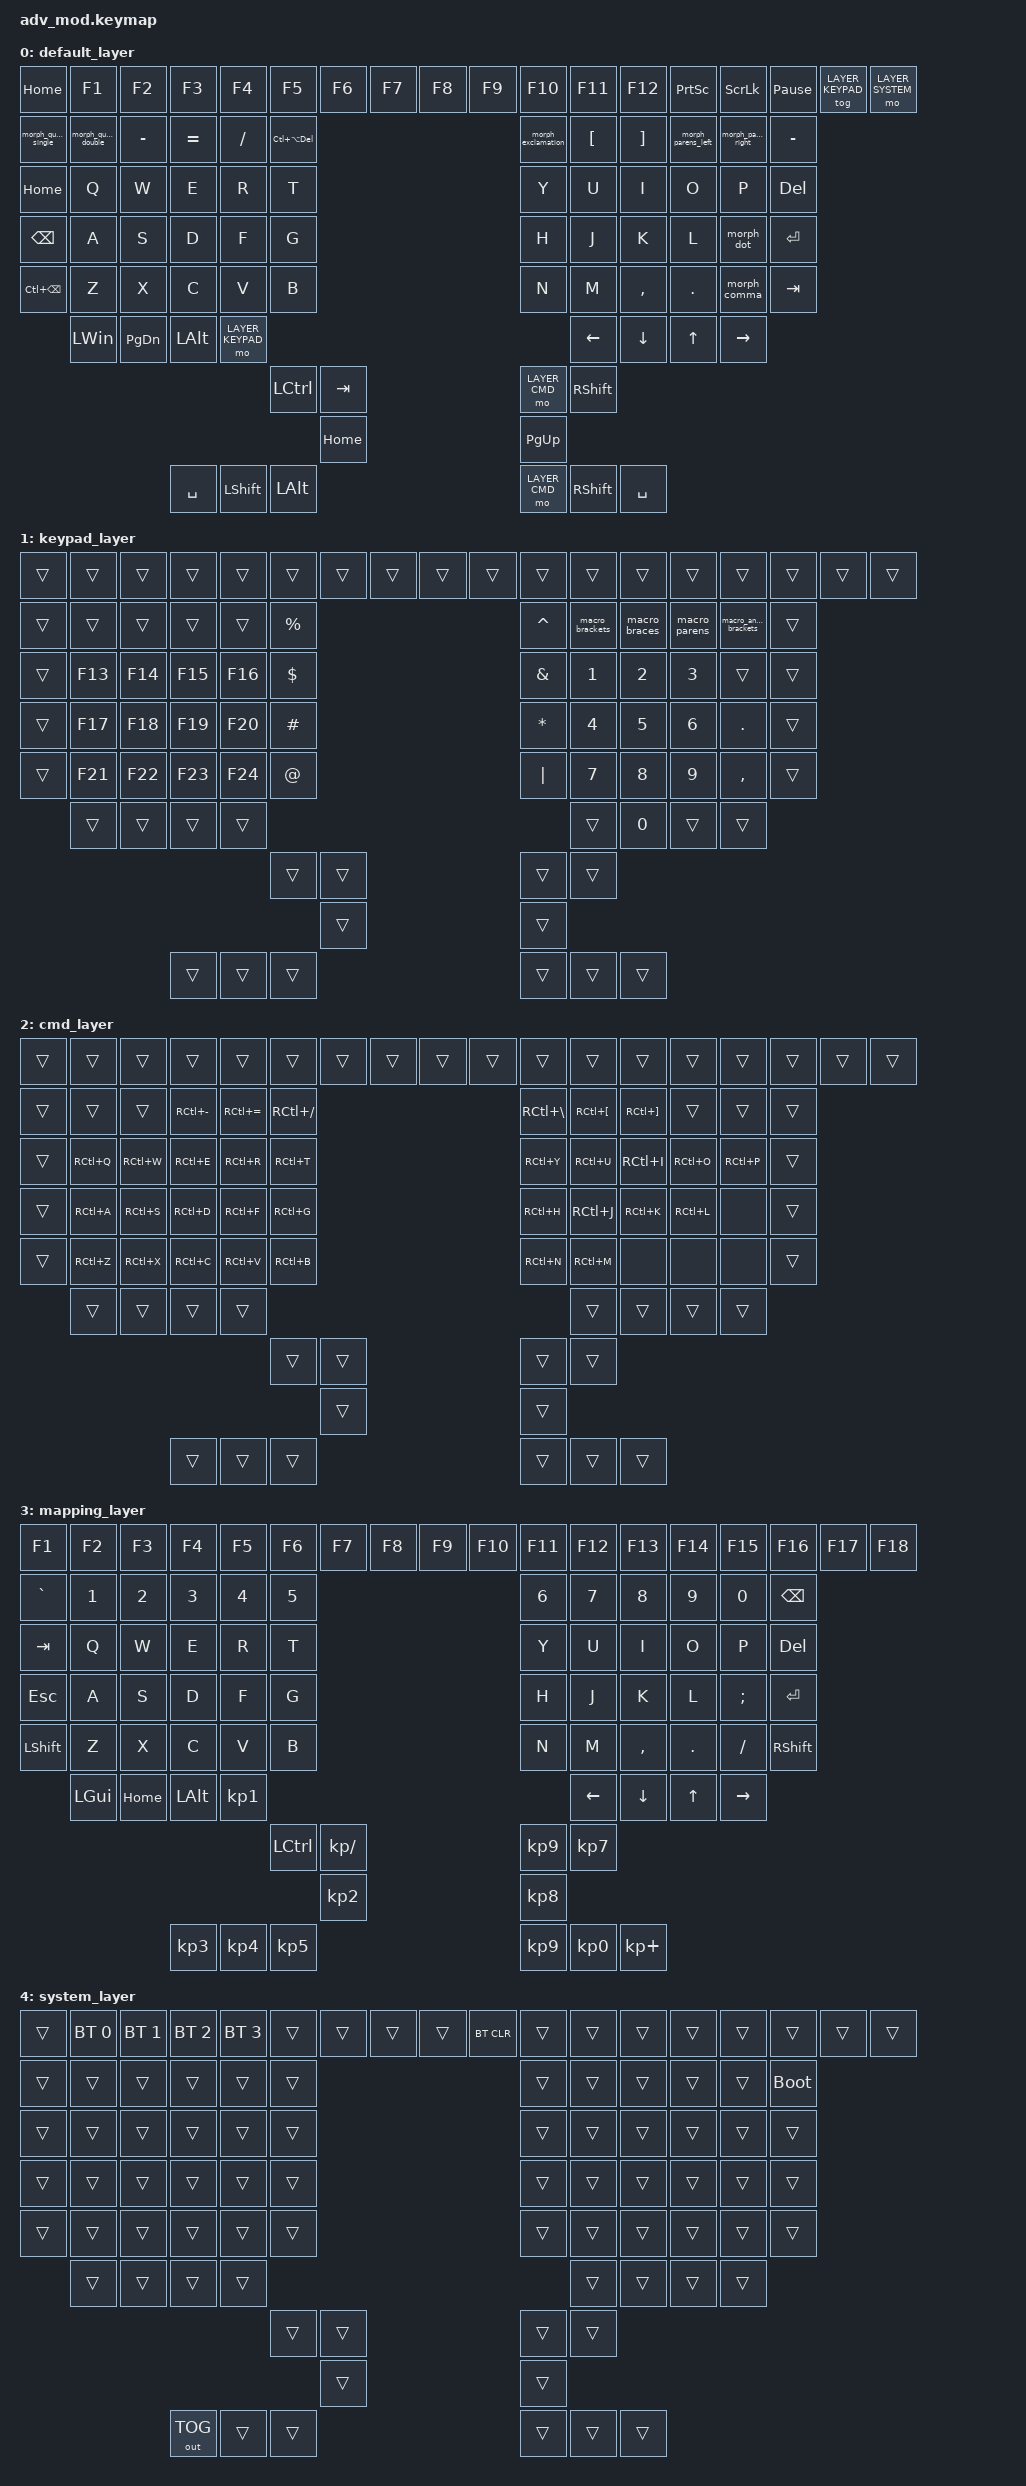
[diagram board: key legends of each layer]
/*
 * Copyright (c) 2020 The ZMK Contributors
 * 
 * SPDX-License-Identifier: MIT
 * 
 * ZMK keymap for Kinesis Advantage keyboards using Pillz Mod + Nice!Nano
 * Compatible with KLCM (Keyboard Layout Config Mapper)
 * 
 * Hardware: Kinesis Advantage with Pillz Mod Pro + Nice!Nano v2
 * Repository: https://github.com/masters3d/zmk-config-pillzmod-nicenano
 * Branch: cheyo
 */

#include <behaviors.dtsi>
#include <dt-bindings/zmk/keys.h>
#include <dt-bindings/zmk/bt.h>
#include <dt-bindings/zmk/outputs.h>

#define LAYER_KEYPAD 1
#define LAYER_CMD 2
#define LAYER_SYSTEM 3

/ {
    macros {
        macro_brackets: macro_brackets {
            compatible = "zmk,behavior-macro";
            label = "macro_brackets";
            #binding-cells = <0>;
            bindings = <&kp LBKT>, <&kp RBKT>, <&kp LEFT>;
        };

        macro_braces: macro_braces {
            compatible = "zmk,behavior-macro";
            label = "macro_braces";
            #binding-cells = <0>;
            bindings = <&kp LBRC>, <&kp RBRC>, <&kp LEFT>;
        };

        macro_parens: macro_parens {
            compatible = "zmk,behavior-macro";
            label = "macro_parens";
            #binding-cells = <0>;
            bindings = <&kp LPAR>, <&kp RPAR>, <&kp LEFT>;
        };

        macro_angle_brackets: macro_angle_brackets {
            compatible = "zmk,behavior-macro";
            label = "macro_angle_brackets";
            #binding-cells = <0>;
            bindings = <&kp LT>, <&kp GT>, <&kp LEFT>;
        };
    };

    behaviors {
        mo_key: behavior_mo_key {
            compatible = "zmk,behavior-hold-tap";
            label = "mo_key";
            #binding-cells = <2>;
            tapping-term-ms = <200>;
            quick_tap_ms = <175>;
            flavor = "tap-preferred";
            bindings = <&mo>, <&kp>;
        };

        hm: homerow_mods {
            compatible = "zmk,behavior-hold-tap";
            label = "HOMEROW_MODS";
            #binding-cells = <2>;
            tapping-term-ms = <200>;
            quick_tap_ms = <175>;
            flavor = "tap-preferred";
            bindings = <&kp>, <&kp>;
        };

        // &dot_override,
        morph_dot: morph_dot {
            compatible = "zmk,behavior-mod-morph";
            label = "MORPH_DOT";
            #binding-cells = <0>;
            bindings = <&kp PERIOD>, <&kp COLON>;
            mods = <(MOD_LSFT|MOD_RSFT)>;
        };

        // &comma_override,
        morph_comma: morph_comma {
            compatible = "zmk,behavior-mod-morph";
            label = "MORPH_COMMA";
            #binding-cells = <0>;
            bindings = <&kp COMMA>, <&kp SEMICOLON>;
            mods = <(MOD_LSFT|MOD_RSFT)>;
        };

        // &parens_left_override,
        morph_parens_left: morph_parens_left {
            compatible = "zmk,behavior-mod-morph";
            label = "MORPH_PARENS_LEFT";
            #binding-cells = <0>;
            bindings = <&kp LEFT_PARENTHESIS>, <&kp LESS_THAN>;
            mods = <(MOD_LSFT|MOD_RSFT)>;
        };

        // &parens_right_override,
        morph_parens_right: morph_parens_right {
            compatible = "zmk,behavior-mod-morph";
            label = "MORPH_PARENS_RIGHT";
            #binding-cells = <0>;
            bindings = <&kp RIGHT_PARENTHESIS>, <&kp GREATER_THAN>;
            mods = <(MOD_LSFT|MOD_RSFT)>;
        };

        // &exclamation_override,
        morph_exclamation: morph_exclamation {
            compatible = "zmk,behavior-mod-morph";
            label = "MORPH_EXCLAMATION";
            #binding-cells = <0>;
            bindings = <&kp BACKSLASH>, <&kp EXCLAMATION>;
            mods = <(MOD_LSFT|MOD_RSFT)>;
        };

        // &quote_single_override,
        morph_quote_single: morph_quote_single {
            compatible = "zmk,behavior-mod-morph";
            label = "MORPH_QUOTE_SINGLE";
            #binding-cells = <0>;
            bindings = <&kp SINGLE_QUOTE>, <&kp GRAVE>;
            mods = <(MOD_LSFT|MOD_RSFT)>;
        };

        // &quote_double_override,
        morph_quote_double: morph_quote_double {
            compatible = "zmk,behavior-mod-morph";
            label = "MORPH_QUOTE_DOUBLE";
            #binding-cells = <0>;
            bindings = <&kp DOUBLE_QUOTES>, <&kp TILDE>;
            mods = <(MOD_LSFT|MOD_RSFT)>;
        };
    };

    keymap {
        compatible = "zmk,keymap";

        default_layer {
            // -----------------------------------------------------------------------------------------
            // CUSTOMIZED LAYOUT - Synced from adv360 with hardware-specific top row preserved
            // -----------------------------------------------------------------------------------------
            // |  HOME |  F1  |  F2  |  F3  |  F4  |  F5  |  F6  |  F7  |  F8  |     |  F9  |  F10 |  F11 |  F12 | PSCRN| SLCK | PAUSE| Layer| SYS  |
            // |   '   |  "   |  -   |  =   |  /   |C-A-DEL                           |  !\  |  [   |  ]   | (<)  | (>)  |  -   |
            // | HOME  |  Q   |  W   |  E   |  R   |  T   |                           |  Y   |  U   |  I   |  O   |  P   | DEL  |
            // | BSPC  |  A   |  S   |  D   |  F   |  G   |                           |  H   |  J   |  K   |  L   | .(;) | ENTER|
            // |C-BSPC |  Z   |  X   |  C   |  V   |  B   |                           |  N   |  M   |  ,   |  .   | ,(;) | TAB  |
            //         | WIN  | PGDN | ALT  |KYPAD |      |                           |      | LEFT | DOWN |  UP  |RIGHT |
            //                                    | CTRL | TAB  |               | CMD  | SHFT |
            //                                           | HOME |               | PGUP |
            //                              | SPC  | SHFT | ALT  |               | CMD  | SHFT | SPC  |
            //
            // Notes: 
            //   .(;) = morph_dot (Period → Colon when shifted)
            //   ,(;) = morph_comma (Comma → Semicolon when shifted)
            //   (<) = morph_parens_left (Left paren → Less than when shifted)
            //   (>) = morph_parens_right (Right paren → Greater than when shifted)
            //   !\  = morph_exclamation (Backslash → Exclamation when shifted)
            //   '   = morph_quote_single (Single quote → Grave when shifted)
            //   "   = morph_quote_double (Double quote → Tilde when shifted)
            bindings = <
    &kp HOME   &kp F1    &kp F2    &kp F3    &kp F4    &kp F5    &kp F6    &kp F7    &kp F8         &kp F9    &kp F10   &kp F11   &kp F12   &kp PSCRN  &kp SLCK  &kp PAUSE_BREAK  &tog LAYER_KEYPAD  &mo LAYER_SYSTEM
    &morph_quote_single  &morph_quote_double  &kp MINUS  &kp EQUAL  &kp SLASH  &kp LC(LA(DEL))                                      &morph_exclamation  &kp LBKT  &kp RBKT  &morph_parens_left  &morph_parens_right  &kp MINUS
    &kp HOME    &kp Q     &kp W     &kp E     &kp R     &kp T                                                                                     &kp Y     &kp U     &kp I     &kp O     &kp P     &kp DEL
    &kp BSPC    &kp A     &kp S     &kp D     &kp F     &kp G                                                                                     &kp H     &kp J     &kp K     &kp L     &morph_dot  &kp ENTER
    &kp LC(BSPC)  &kp Z   &kp X     &kp C     &kp V     &kp B                                                                                     &kp N     &kp M     &kp COMMA &kp DOT   &morph_comma  &kp TAB
               &kp LEFT_WIN &kp PAGE_DOWN &kp LEFT_ALT &mo LAYER_KEYPAD                                                                                   &kp LEFT  &kp DOWN  &kp UP    &kp RIGHT
                                                      &kp LEFT_CONTROL  &kp TAB                                        &mo LAYER_CMD  &kp RIGHT_SHIFT
                                                                 &kp HOME                                               &kp PG_UP
                                        &kp SPACE   &kp LEFT_SHIFT  &kp LEFT_ALT                                       &mo LAYER_CMD  &kp RIGHT_SHIFT &kp SPACE
            >;
        };
        
        keypad_layer {
            // -----------------------------------------------------------------------------------------
            // Keypad layer - Number pad with symbols and macros for brackets/braces
            bindings = <
    &trans  &trans  &trans  &trans  &trans  &trans  &trans  &trans  &trans                          &trans  &trans  &trans  &trans  &trans  &trans  &trans  &trans  &trans
    &trans  &trans  &trans  &trans  &trans  &kp PERCENT                                                              &kp CARET  &macro_brackets  &macro_braces  &macro_parens  &macro_angle_brackets  &trans
    &trans  &kp F13  &kp F14  &kp F15  &kp F16  &kp DOLLAR                                                           &kp AMPERSAND  &kp N1  &kp N2  &kp N3  &trans  &trans
    &trans  &kp F17  &kp F18  &kp F19  &kp F20  &kp POUND                                                            &kp STAR  &kp N4  &kp N5  &kp N6  &kp DOT  &trans
    &trans  &kp F21  &kp F22  &kp F23  &kp F24  &kp AT_SIGN                                                          &kp PIPE  &kp N7  &kp N8  &kp N9  &kp COMMA  &trans
            &trans  &trans  &trans  &trans                                                                                   &trans  &kp N0  &trans  &trans
                                                  &trans  &trans                                        &trans  &trans
                                                          &trans                                        &trans
                                          &trans  &trans  &trans                                        &trans  &trans  &trans
            >;
        };

        cmd_layer {
            // -----------------------------------------------------------------------------------------
            // CMD/FN layer - Control/Command key combinations for all keys
            bindings = <
    &trans  &trans  &trans  &trans  &trans  &trans  &trans  &trans  &trans                          &trans  &trans  &trans  &trans  &trans  &trans  &trans  &trans  &trans
    &trans  &trans  &trans  &kp RC(MINUS)  &kp RC(EQUAL)  &kp RC(SLASH)                                      &kp RC(BACKSLASH)  &kp RC(LEFT_BRACKET)  &kp RC(RIGHT_BRACKET)  &trans  &trans  &trans
    &trans  &kp RC(Q)  &kp RC(W)  &kp RC(E)  &kp RC(R)  &kp RC(T)                                            &kp RC(Y)  &kp RC(U)  &kp RC(I)  &kp RC(O)  &kp RC(P)  &trans
    &trans  &kp RC(A)  &kp RC(S)  &kp RC(D)  &kp RC(F)  &kp RC(G)                                            &kp RC(H)  &kp RC(J)  &kp RC(K)  &kp RC(L)  &none  &trans
    &trans  &kp RC(Z)  &kp RC(X)  &kp RC(C)  &kp RC(V)  &kp RC(B)                                            &kp RC(N)  &kp RC(M)  &none  &none  &none  &trans
            &trans  &trans  &trans  &trans                                                                              &trans  &trans  &trans  &trans
                                                  &trans  &trans                                        &trans  &trans
                                                          &trans                                        &trans
                                          &trans  &trans  &trans                                        &trans  &trans  &trans
            >;
        };

        mapping_layer {
            // -----------------------------------------------------------------------------------------
            // MAPPING LAYER: Each key's VALUE defines its logical identity for translation.
            // This allows accurate translation between keyboards with different physical layouts.
            // adv_mod layout: 86 keys (18 function + 12×5 main + 8 modifier + 12 thumb)
            // Thumb keys use KP_N* as unique identifiers matching their function:
            //   KP_N1 = LAYER_KEYPAD (left inner), KP_N2 = WIN/GUI (left)
            //   KP_N3 = SPACE (left), KP_N4 = SHIFT (left), KP_N5 = ALT (left)
            //   KP_N7 = ESC (right inner), KP_N8 = LAYER_KEYPAD (right)
            //   KP_N9 = LAYER_CMD (right), KP_N0 = SHIFT (right), KP_PLUS = SPACE (right)
            //   LCTRL = CTRL key, KP_DIVIDE = TAB key
            bindings = <
    // Row 0: Function row (18 keys - unique to adv_mod)
    &kp F1     &kp F2     &kp F3    &kp F4    &kp F5    &kp F6    &kp F7    &kp F8    &kp F9           &kp F10   &kp F11   &kp F12   &kp F13   &kp F14    &kp F15   &kp F16          &kp F17            &kp F18
    // Row 1: Number/symbol row (6 left + 6 right = 12)
    &kp GRAVE  &kp N1     &kp N2    &kp N3    &kp N4    &kp N5                                                  &kp N6    &kp N7    &kp N8    &kp N9     &kp N0     &kp BSPC
    // Row 2: QWERTY row (6 left + 6 right = 12)
    &kp TAB    &kp Q      &kp W     &kp E     &kp R     &kp T                                                   &kp Y     &kp U     &kp I     &kp O      &kp P      &kp DEL
    // Row 3: Home row (6 left + 6 right = 12)
    &kp ESC    &kp A      &kp S     &kp D     &kp F     &kp G                                                   &kp H     &kp J     &kp K     &kp L      &kp SEMI   &kp RET
    // Row 4: Bottom row (6 left + 6 right = 12)
    &kp LSHFT  &kp Z      &kp X     &kp C     &kp V     &kp B                                                   &kp N     &kp M     &kp COMMA &kp DOT    &kp SLASH  &kp RSHFT
    // Row 5: Modifier row (4 left + 4 right = 8)
               &kp LGUI   &kp HOME  &kp LALT  &kp KP_N1                                                                   &kp LEFT  &kp DOWN  &kp UP     &kp RIGHT
    // Row 6: Thumb top (2 left + 2 right = 4): CTRL, TAB | CMD, ESC
                                                       &kp LCTRL  &kp KP_DIVIDE                                &kp KP_N9  &kp KP_N7
    // Row 7: Thumb middle (1 left + 1 right = 2): WIN, LAYER_KEYPAD
                                                                  &kp KP_N2                                    &kp KP_N8
    // Row 8: Thumb bottom (3 left + 3 right = 6): SPACE, SHIFT, ALT | CMD, SHIFT, SPACE
                                         &kp KP_N3   &kp KP_N4  &kp KP_N5                                      &kp KP_N9  &kp KP_N0 &kp KP_PLUS
            >;
        };

        system_layer {
            // -----------------------------------------------------------------------------------------
            // System layer - Bluetooth, output selection, bootloader access
            bindings = <
    &trans  &bt BT_SEL 0  &bt BT_SEL 1  &bt BT_SEL 2  &bt BT_SEL 3  &trans  &trans  &trans  &trans       &bt BT_CLR  &trans  &trans  &trans  &trans  &trans  &trans  &trans  &trans
    &trans  &trans  &trans  &trans  &trans  &trans                                                                   &trans  &trans  &trans  &trans  &trans  &bootloader
    &trans  &trans  &trans  &trans  &trans  &trans                                                                   &trans  &trans  &trans  &trans  &trans  &trans
    &trans  &trans  &trans  &trans  &trans  &trans                                                                   &trans  &trans  &trans  &trans  &trans  &trans
    &trans  &trans  &trans  &trans  &trans  &trans                                                                   &trans  &trans  &trans  &trans  &trans  &trans
            &trans  &trans  &trans  &trans                                                                                   &trans  &trans  &trans  &trans
                                                  &trans  &trans                                        &trans  &trans
                                                          &trans                                        &trans
                                      &out OUT_TOG  &trans  &trans                                        &trans  &trans  &trans
            >;
        };

    };
};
